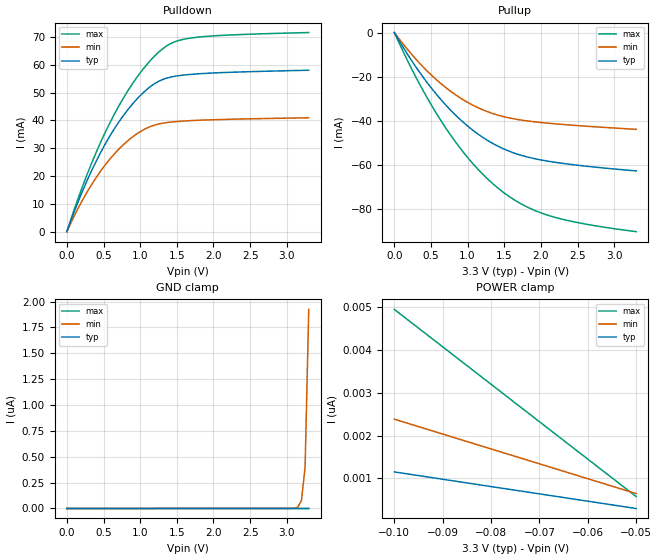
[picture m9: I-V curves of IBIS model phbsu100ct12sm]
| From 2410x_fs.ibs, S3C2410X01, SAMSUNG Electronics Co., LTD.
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[Model] phbsu100ct12sm
 Model_type  I/O
 Polarity   Non-Inverting
 Enable   Active-Low
 Vinh= 2.00
 Vinl= 0.80
|variable   typ   min   max
 C_comp   2pF   2pF   2pF
|variable   typ   min   max
[Temperature Range]   25.0   0   70
|variable   typ   min   max
[Voltage Range]   3.3V   3.0V   3.6V
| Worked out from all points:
|   slope of the pulldown table from 0 to 0.495 V, typ, clamps not added: 16.4 ohm
|   slope of the pullup table from 0 to 0.495 V, typ, clamps not added: 20 ohm
[POWER_clamp]
|  voltage   I(typ)   I(min)   I(max)
-100mV    1.153nA    2.386nA    4.954nA
-50mV     297.2pA    645.9pA    575.3pA
[GND_clamp]
|  voltage   I(typ)   I(min)   I(max)
0V        -239.6pA   -329.6pA   -563.8pA
3V        155pA      396.5pA    75.36pA
3.1V      166.9pA    2.386nA    89.7pA
3.15V     173.1pA    13.18nA    96.86pA
3.2V      179.8pA    74.85nA    104pA
3.25V     188.3pA    398.4nA    111.2pA
3.3V      203.8pA    1.924uA    118.4pA
[Pullup]
|  voltage   I(typ)   I(min)   I(max)
0V        203.8pA    396.5pA    206.2pA
150mV     -8.32mA    -6.469mA   -10.72mA
350mV     -18.32mA   -14.13mA   -23.77mA
500mV     -25.01mA   -19.17mA   -32.65mA
700mV     -32.88mA   -24.96mA   -43.3mA
850mV     -38.01mA   -28.63mA   -50.41mA
1.05V     -43.85mA   -32.64mA   -58.75mA
1.4V      -51.41mA   -37.4mA    -70.3mA
1.75V     -55.97mA   -39.87mA   -78.22mA
2.1V      -58.47mA   -41.2mA    -83.07mA
2.6V      -60.66mA   -42.52mA   -86.98mA
3.3V      -62.87mA   -43.98mA   -90.47mA
[Pulldown]
|  voltage   I(typ)   I(min)   I(max)
0V        -239.6pA   -329.6pA   -563.8pA
150mV     10.52mA    8.22mA     11.68mA
300mV     19.81mA    15.33mA    22.17mA
450mV     27.94mA    21.4mA     31.53mA
650mV     37.1mA     28.03mA    42.36mA
800mV     42.81mA    31.98mA    49.32mA
1V        48.94mA    35.97mA    57.13mA
1.15V     52.41mA    37.94mA    61.91mA
1.3V      54.68mA    38.99mA    65.68mA
1.5V      56.02mA    39.63mA    68.58mA
1.75V     56.72mA    40.03mA    69.88mA
3.3V      58.1mA     40.99mA    71.65mA
[Ramp]
| variable   typ   min   max
dV/dt_r  1.2913E+00/1.8806E-09   8.1902E-01/2.2779E-09   1.5951E+00/1.2912E-09
dV/dt_f  9.4997E-01/5.2681E-10   9.4811E-01/1.1227E-09   1.0568E-03/4.1623E-10
R_load = 50ohms
